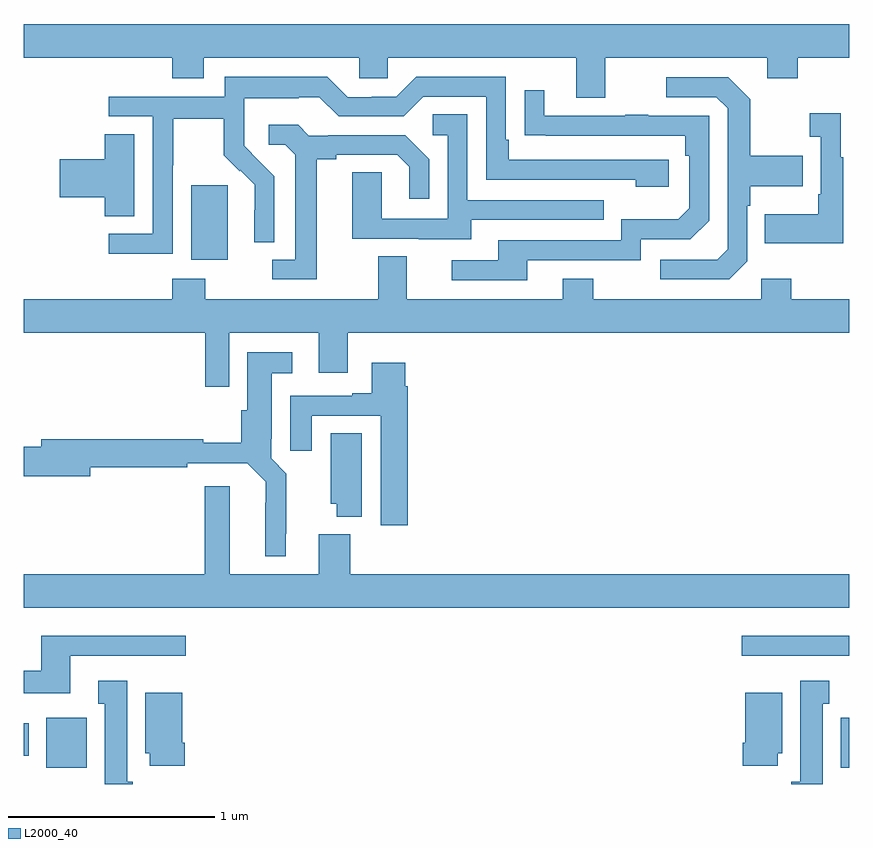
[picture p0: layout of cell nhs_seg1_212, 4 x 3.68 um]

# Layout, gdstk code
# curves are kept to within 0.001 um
import gdstk
lib = gdstk.Library(unit=1e-6, precision=1e-09)
def R(c, l, rs):  # rectangles x0, y0, x1, y1
    for r in rs: c.add(gdstk.rectangle(r[:2], r[2:], *l))
def P(c, l, *ps):  # polygons
    for p in ps: c.add(gdstk.Polygon(p, *l))
L2000_40 = (2000, 40)

nhs_seg1_212 = lib.new_cell('nhs_seg1_212')
R(nhs_seg1_212, L2000_40, [(121.109,564.278,121.306,564.52), (124.958,564.278,125,564.52), (121,564.337,121.024,564.493), (124.479,564.819,125,564.916), (121.811,566.738,121.99,567.099)])
P(nhs_seg1_212, L2000_40, [(123.817,567.716),(124.601,567.716),(124.601,567.617),(124.749,567.617),(124.749,567.716),(125,567.716),(125,567.88),(121,567.88),(121,567.716),(121.721,567.716),(121.721,567.617),(121.873,567.617),(121.873,567.716),(122.625,567.716),(122.625,567.618),(122.763,567.618),(122.763,567.716),(123.677,567.716),(123.677,567.522),(123.817,567.522)],
  [(121.722,567.196),(121.725,567.196),(121.725,567.42),(121.969,567.42),(121.969,567.245),(122.046,567.168),(122.049,567.171),(122.12,567.101),(122.12,566.978),(122.118,566.978),(122.118,566.824),(122.214,566.824),(122.214,567.142),(122.068,567.29),(122.068,567.387),(122.07,567.387),(122.07,567.521),(122.333,567.521),(122.333,567.525),(122.433,567.525),(122.526,567.432),(122.841,567.432),(122.937,567.528),(123.24,567.528),(123.24,567.126),(123.965,567.126),(123.965,567.092),(124.126,567.092),(124.126,567.222),(123.349,567.222),(123.349,567.319),(123.336,567.319),(123.336,567.624),(122.901,567.624),(122.805,567.528),(122.687,567.528),(122.687,567.525),(122.571,567.525),(122.471,567.625),(121.974,567.625),(121.974,567.528),(121.413,567.528),(121.413,567.432),(121.626,567.432),(121.626,566.865),(121.413,566.865),(121.413,566.767),(121.722,566.767)],
  [(124.506,566.73),(124.506,566.999),(124.519,566.999),(124.519,567.095),(124.775,567.095),(124.775,567.243),(124.519,567.243),(124.519,567.515),(124.413,567.621),(124.113,567.621),(124.113,567.525),(124.356,567.525),(124.41,567.471),(124.41,566.79),(124.359,566.739),(124.083,566.739),(124.083,566.643),(124.419,566.643)],
  [(123.439,566.736),(123.99,566.736),(123.99,566.838),(124.23,566.838),(124.32,566.928),(124.32,567.435),(124.025,567.435),(124.025,567.44),(123.913,567.44),(123.913,567.435),(123.523,567.435),(123.523,567.559),(123.427,567.559),(123.427,567.34),(124.204,567.339),(124.204,567.242),(124.224,567.242),(124.224,566.988),(124.171,566.935),(123.894,566.935),(123.894,566.832),(123.299,566.832),(123.299,566.736),(123.075,566.736),(123.075,566.64),(123.439,566.64)],
  [(124.969,567.235),(124.957,567.235),(124.957,567.448),(124.809,567.448),(124.809,567.335),(124.86,567.335),(124.86,567.055),(124.848,567.055),(124.848,566.959),(124.591,566.959),(124.591,566.819),(124.969,566.819)],
  [(123.169,566.931),(123.809,566.931),(123.809,567.027),(123.15,567.027),(123.15,567.443),(122.982,567.443),(122.982,567.342),(123.054,567.342),(123.054,566.937),(122.736,566.937),(122.736,567.161),(122.591,567.161),(122.591,566.841),(122.915,566.841),(122.915,566.837),(123.169,566.837)],
  [(122.419,567.224),(122.515,567.224),(122.515,567.246),(122.81,567.246),(122.867,567.189),(122.867,567.033),(122.964,567.033),(122.964,567.226),(122.848,567.342),(122.476,567.342),(122.476,567.339),(122.382,567.339),(122.33,567.391),(122.187,567.391),(122.187,567.294),(122.268,567.294),(122.315,567.247),(122.315,566.739),(122.205,566.739),(122.205,566.643),(122.419,566.643)],
  [(121.537,567.347),(121.394,567.347),(121.394,567.224),(121.176,567.224),(121.176,567.041),(121.394,567.041),(121.394,566.95),(121.537,566.95)],
  [(121.995,566.384),(122.429,566.384),(122.429,566.19),(122.569,566.19),(122.569,566.384),(125,566.384),(125,566.548),(124.719,566.548),(124.719,566.647),(124.572,566.647),(124.572,566.548),(123.759,566.548),(123.759,566.647),(123.611,566.647),(123.611,566.548),(122.857,566.548),(122.857,566.756),(122.717,566.756),(122.717,566.548),(121.881,566.548),(121.881,566.647),(121.721,566.647),(121.721,566.548),(121,566.548),(121,566.384),(121.879,566.384),(121.879,566.124),(121.995,566.124)],
  [(122.269,565.411),(122.273,565.411),(122.273,565.702),(122.199,565.776),(122.199,565.87),(122.203,565.87),(122.203,566.189),(122.302,566.189),(122.302,566.29),(122.084,566.29),(122.084,566.01),(122.054,566.01),(122.054,565.853),(121.87,565.853),(121.87,565.868),(121.085,565.868),(121.085,565.832),(121,565.832),(121,565.69),(121.324,565.69),(121.324,565.732),(121.793,565.732),(121.793,565.752),(122.084,565.752),(122.172,565.664),(122.171,565.301),(122.269,565.301)],
  [(122.861,566.126),(122.848,566.126),(122.848,566.239),(122.687,566.239),(122.687,566.092),(122.591,566.092),(122.591,566.079),(122.291,566.079),(122.291,565.812),(122.395,565.812),(122.395,565.983),(122.729,565.983),(122.729,565.452),(122.861,565.452)],
  [(122.638,565.898),(122.489,565.898),(122.489,565.557),(122.516,565.557),(122.516,565.493),(122.638,565.493)],
  [(125,565.216),(122.582,565.216),(122.582,565.408),(122.429,565.408),(122.429,565.216),(121.999,565.216),(121.999,565.642),(121.877,565.642),(121.877,565.216),(121,565.216),(121,565.052),(125,565.052)],
  [(121.225,564.819),(121.786,564.819),(121.786,564.916),(121.085,564.916),(121.085,564.748),(121,564.748),(121,564.638),(121.225,564.638)],
  [(124.87,564.587),(124.903,564.587),(124.903,564.7),(124.763,564.7),(124.763,564.21),(124.718,564.21),(124.718,564.199),(124.87,564.199)],
  [(121.528,564.21),(121.501,564.21),(121.501,564.7),(121.361,564.7),(121.361,564.587),(121.394,564.587),(121.394,564.199),(121.528,564.199)],
  [(121.781,564.4),(121.768,564.4),(121.768,564.64),(121.589,564.64),(121.589,564.348),(121.61,564.348),(121.61,564.288),(121.781,564.288)],
  [(124.654,564.348),(124.675,564.348),(124.675,564.64),(124.496,564.64),(124.496,564.4),(124.484,564.4),(124.484,564.288),(124.654,564.288)])

lib.write_gds('nhs_seg1_212.gds')
